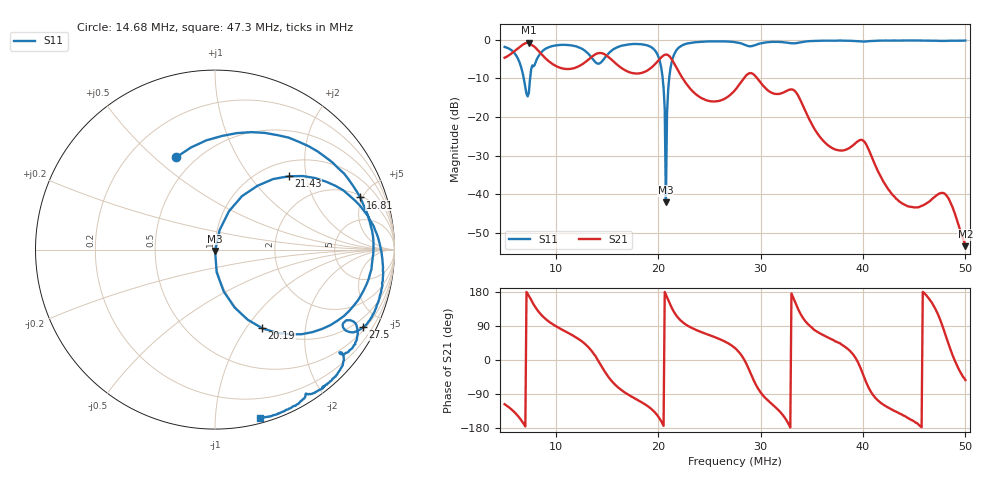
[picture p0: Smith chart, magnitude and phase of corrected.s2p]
! S11/S21 only; reverse parameters are placeholders. Device calibration unverified.
! [Saver CAL applied] C:\Users\aknya\MyProjects\rf-simulator\calibration2.cal | Ideal standards assumed | Input: NanoVNA F V2 profile | COM3 | 2026-09-08T11:06:30.4918964-04:00 | device calibration unverified
# HZ S RI R 50
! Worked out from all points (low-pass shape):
!   401 points, 5 MHz to 50 MHz, reference 50 ohm
!   highest |S21| = -0.73 dB at 7.362 MHz (marker M1); lowest = -53.5 dB at 50 MHz (marker M2)
!   |S21| within 3 dB of the highest: 5.581 MHz to 8.604 MHz (3.024 MHz wide, 42.6 % of centre); 13.88 MHz to 14.74 MHz (862.1 kHz wide, 6.02 % of centre)
!   lowest |S11| = -42.1 dB at 20.75 MHz (marker M3), VSWR 1.02, Z = 50.1 - j0.786 ohm
!   |S11| at or under -10 dB: 6.868 MHz to 7.493 MHz (624.3 kHz wide, 8.69 % of centre); 20.44 MHz to 21.07 MHz (635.6 kHz wide, 3.06 % of centre)
!   S12 and S22 are empty: the file has one direction only
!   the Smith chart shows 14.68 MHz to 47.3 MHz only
!   S11 on the Smith chart (normalised r, x): 14.68 MHz: 0.40, +0.59; 16.81 MHz: 2.16, +4.81; 20.19 MHz: 1.01, -1.19; 21.43 MHz: 1.29, +1.59; 27.5 MHz: 0.61, -3.97; 47.3 MHz: 0.04, -1.30
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5000000  0.7443 -0.319  -0.2629 -0.5235  0 0  0 0
7362500  0.2033 0.015  -0.9037 0.1717  0 0  0 0
8262500  0.5744 0.1681  -0.4634 0.5631  0 0  0 0
9725000  0.8155 -0.1695  -0.0328 0.4798  0 0  0 0
1.25375e7  0.2278 -0.7331  0.3111 0.3623  0 0  0 0
1.38875e7  -0.484 -0.1615  0.6419 0.1134  0 0  0 0
1.4675e7  -0.2156 0.5146  0.5913 -0.289  0 0  0 0
1.68125e7  0.8093 0.2903  0.0211 -0.3996  0 0  0 0
1.8725e7  0.8295 -0.2251  -0.1768 -0.3441  0 0  0 0
2.0075e7  0.3422 -0.4632  -0.4851 -0.2582  0 0  0 0
2.01875e7  0.2624 -0.4376  -0.5246 -0.2264  0 0  0 0
2.075e7  0.000569 -0.00785  -0.6394 0.0831  0 0  0 0
2.1425e7  0.4108 0.4083  -0.3562 0.3931  0 0  0 0
2.3e7  0.9016 0.0864  0.00618 0.2449  0 0  0 0
2.75e7  0.824 -0.4328  0.19 0.1164  0 0  0 0
2.96375e7  0.7707 -0.4005  0.1096 -0.302  0 0  0 0
3.29e7  0.6946 -0.5788  -0.2271 -0.00839  0 0  0 0
3.50375e7  0.6991 -0.6651  0.00713 0.0789  0 0  0 0
4.01e7  0.5054 -0.803  0.0345 -0.0339  0 0  0 0
4.2575e7  0.435 -0.8731  -0.00677 -0.00887  0 0  0 0
4.73e7  0.2487 -0.9369  -0.00523 0.00841  0 0  0 0
5e7  0.1603 -0.9654  0.00128 -0.00169  0 0  0 0
